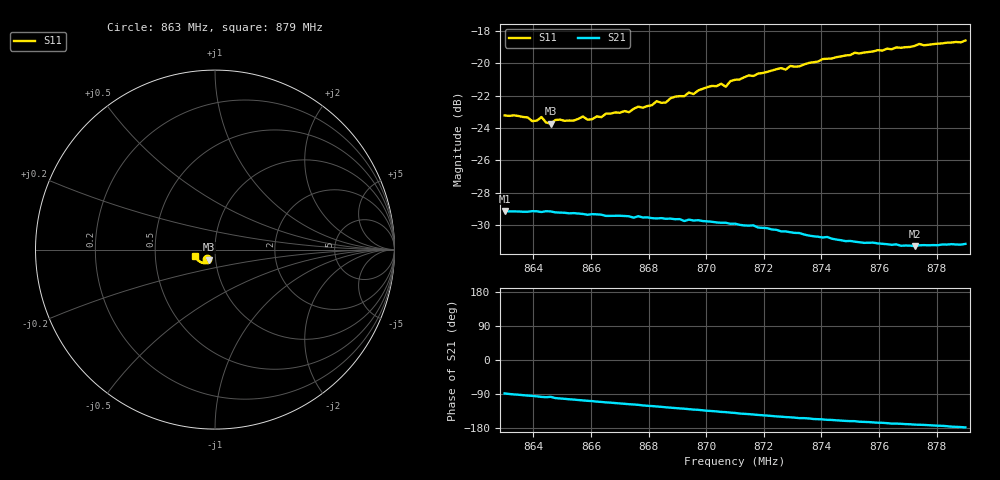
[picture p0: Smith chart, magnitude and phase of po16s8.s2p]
# HZ S RI R 50
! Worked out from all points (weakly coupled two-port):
!   101 points, 863 MHz to 879 MHz, reference 50 ohm
!   highest |S21| = -29.15 dB at 863 MHz (marker M1); lowest = -31.3 dB at 877.24 MHz (marker M2)
!   lowest |S11| = -23.7 dB at 864.6 MHz (marker M3), VSWR 1.14, Z = 46.4 - j5.18 ohm
!   |S11| at or under -10 dB: start of sweep to end of sweep
!   S12 and S22 are empty: the file has one direction only
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8.63e8  -0.0429 -0.054  0.00105 -0.0349  0 0  0 0
8.638e8  -0.041 -0.0543  -0.00234 -0.0347  0 0  0 0
8.6396e8  -0.0391 -0.0534  -0.00287 -0.0347  0 0  0 0
8.6428e8  -0.0388 -0.0561  -0.00445 -0.0344  0 0  0 0
8.646e8  -0.0339 -0.0555  -0.00436 -0.0345  0 0  0 0
8.6476e8  -0.0366 -0.0558  -0.00629 -0.034  0 0  0 0
8.654e8  -0.0348 -0.0566  -0.00858 -0.0333  0 0  0 0
8.6572e8  -0.0358 -0.0584  -0.00981 -0.0327  0 0  0 0
8.6604e8  -0.0346 -0.0575  -0.0108 -0.0324  0 0  0 0
8.6652e8  -0.0342 -0.0609  -0.0126 -0.0313  0 0  0 0
8.6732e8  -0.0341 -0.0618  -0.0151 -0.03  0 0  0 0
8.6828e8  -0.0359 -0.0674  -0.0179 -0.0279  0 0  0 0
8.6844e8  -0.0366 -0.066  -0.0183 -0.0276  0 0  0 0
8.702e8  -0.0443 -0.0727  -0.0228 -0.023  0 0  0 0
8.7052e8  -0.0456 -0.0734  -0.0235 -0.0219  0 0  0 0
8.7068e8  -0.0451 -0.0716  -0.0237 -0.0217  0 0  0 0
8.71e8  -0.0492 -0.074  -0.0243 -0.0206  0 0  0 0
8.7372e8  -0.0684 -0.074  -0.0266 -0.012  0 0  0 0
8.7516e8  -0.0828 -0.0691  -0.0266 -0.00897  0 0  0 0
8.7644e8  -0.0922 -0.0609  -0.0268 -0.00574  0 0  0 0
8.7724e8  -0.0988 -0.0551  -0.0268 -0.00447  0 0  0 0
8.79e8  -0.1112 -0.0384  -0.0276 -0.00101  0 0  0 0
